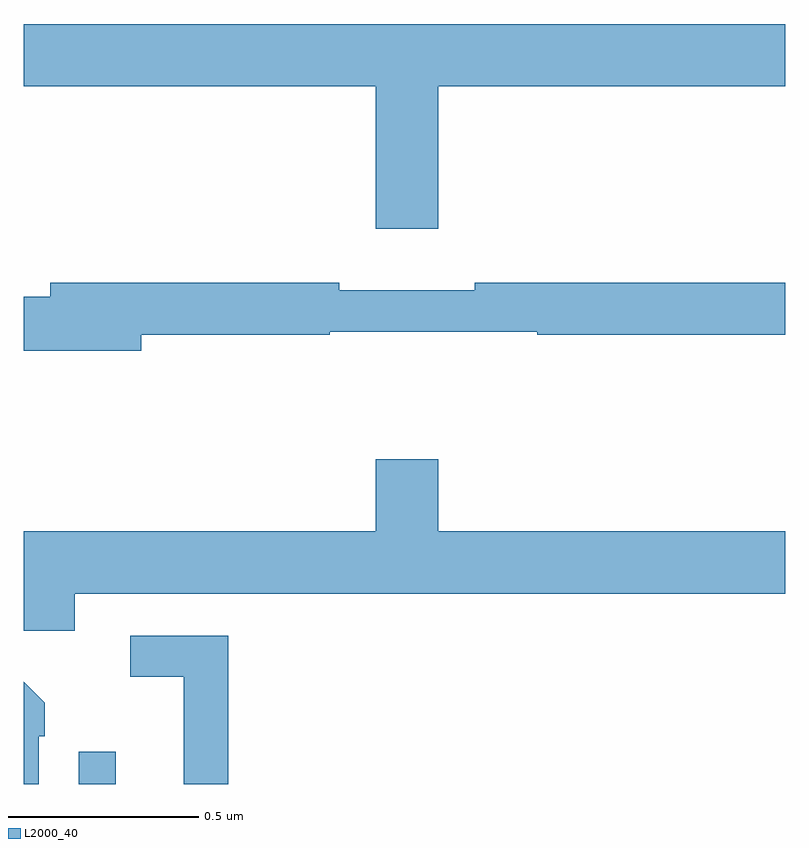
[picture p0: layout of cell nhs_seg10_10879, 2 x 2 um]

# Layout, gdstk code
import gdstk
lib = gdstk.Library(unit=1e-6, precision=1e-09)
def R(c, l, rs):  # rectangles x0, y0, x1, y1
    for r in rs: c.add(gdstk.rectangle(r[:2], r[2:], *l))
def P(c, l, *ps):  # polygons
    for p in ps: c.add(gdstk.Polygon(p, *l))
L2000_40 = (2000, 40)

nhs_seg10_10879 = lib.new_cell('nhs_seg10_10879')
R(nhs_seg10_10879, L2000_40, [(248.145,1282.5,248.241,1282.585)])
P(nhs_seg10_10879, L2000_40, [(249.088,1284.332),(250,1284.332),(250,1284.496),(248,1284.496),(248,1284.332),(248.924,1284.332),(248.924,1283.958),(249.088,1283.958)],
  [(248.308,1283.68),(248.804,1283.68),(248.804,1283.688),(249.348,1283.688),(249.348,1283.68),(250,1283.68),(250,1283.816),(249.184,1283.816),(249.184,1283.797),(248.828,1283.797),(248.828,1283.816),(248.069,1283.816),(248.069,1283.78),(248,1283.78),(248,1283.638),(248.308,1283.638)],
  [(248.134,1283),(250,1283),(250,1283.164),(249.088,1283.164),(249.088,1283.353),(248.924,1283.353),(248.924,1283.164),(248,1283.164),(248,1282.902),(248.134,1282.902)],
  [(248.537,1282.89),(248.28,1282.89),(248.28,1282.782),(248.42,1282.782),(248.42,1282.5),(248.537,1282.5)],
  [(248.04,1282.625),(248.055,1282.625),(248.055,1282.713),(248,1282.768),(248,1282.5),(248.04,1282.5)])

lib.write_gds('nhs_seg10_10879.gds')
